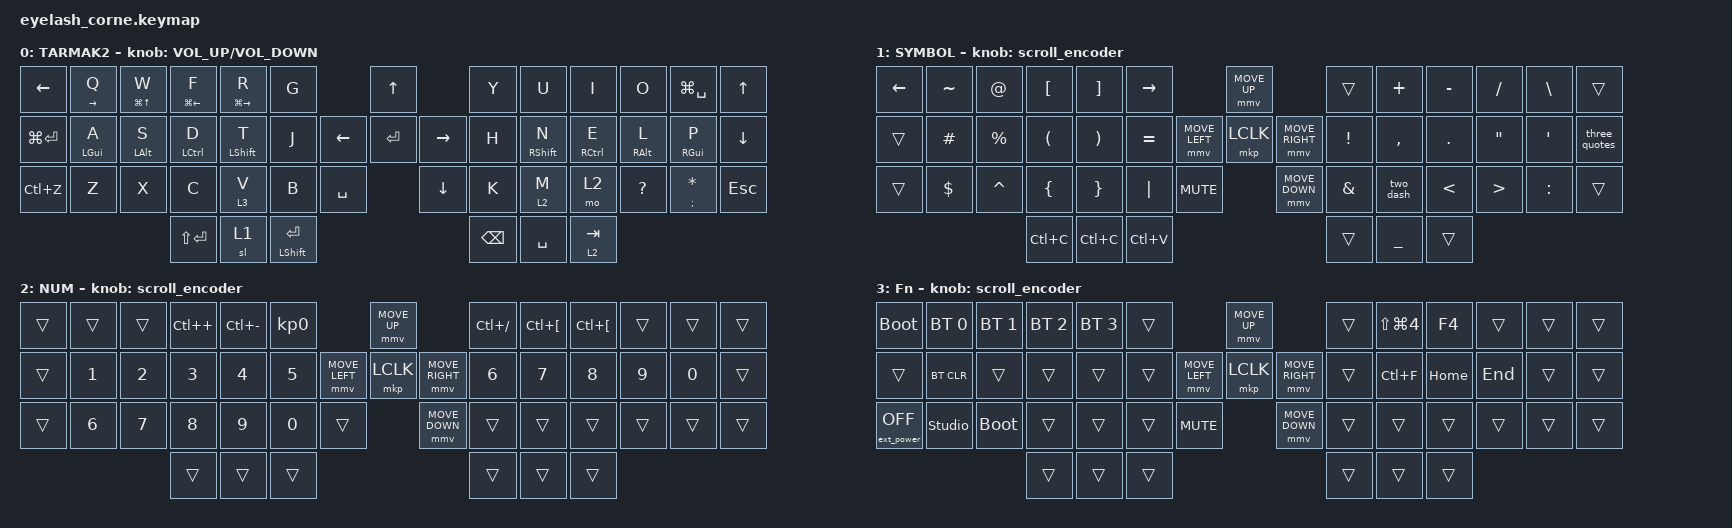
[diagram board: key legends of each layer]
#define ZMK_POINTING_DEFAULT_MOVE_VAL 1200  // 600
#define ZMK_POINTING_DEFAULT_SCRL_VAL 25   // 10

#include <input/processors.dtsi>
#include <zephyr/dt-bindings/input/input-event-codes.h>
#include <behaviors.dtsi>
#include <dt-bindings/zmk/bt.h>
#include <dt-bindings/zmk/ext_power.h>
#include <dt-bindings/zmk/keys.h>
#include <dt-bindings/zmk/outputs.h>
#include <dt-bindings/zmk/pointing.h>
#include <dt-bindings/zmk/rgb.h>

&mmv_input_listener { input-processors = <&zip_xy_scaler 2 1>; };

&msc_input_listener { input-processors = <&zip_scroll_scaler 2 1>; };

&msc {
    acceleration-exponent = <1>;      // 0
    time-to-max-speed-ms = <100>;       // 300
    delay-ms = <0>;                   // 0
};

&mmv {
    time-to-max-speed-ms = <500>;
    acceleration-exponent = <1>;
    trigger-period-ms = <16>;
};


/ {
    behaviors {
        td0: td0 {
            compatible = "zmk,behavior-tap-dance";
            display-name = "Shift/Caps Lock Tap Dance";
            #binding-cells = <0>;
            bindings = <&kp LEFT_SHIFT>, <&kp CAPS>;
        };

        hm: homerow_mods {
            compatible = "zmk,behavior-hold-tap";
            label = "HOMEROW_MODS";
            #binding-cells = <2>;
            tapping-term-ms = <200>;
            quick_tap_ms = <0>;
            flavor = "tap-preferred";
            bindings = <&kp>, <&kp>;

            quick-tap-ms = <180>;
            global-quick-tap;
        };

        ltq: ltq {
            compatible = "zmk,behavior-hold-tap";
            label = "LTQ";
            bindings = <&mo>, <&kp>;
            #binding-cells = <2>;
            tapping-term-ms = <200>;
            quick-tap-ms = <180>;
            flavor = "tap-preferred";
        };

    };

    rgb_encoder: rgb_encoder {
        compatible = "zmk,behavior-sensor-rotate";
        #sensor-binding-cells = <0>;
        bindings = <&rgb_ug RGB_BRI>, <&rgb_ug RGB_BRD>;
    };

    scroll_encoder: scroll_encoder {
        compatible = "zmk,behavior-sensor-rotate";
        #sensor-binding-cells = <0>;
        bindings = <&msc SCRL_DOWN>, <&msc SCRL_UP>;
        tap-ms = <100>;
    };

    macros {
        three_quotes: three_quotes {
            compatible = "zmk,behavior-macro";
            #binding-cells = <0>;
            bindings = <&kp SQT &kp SQT &kp SQT>;
        };

       two_dash: two_dash {
            compatible = "zmk,behavior-macro";
            #binding-cells = <0>;
            bindings = <&kp MINUS &kp MINUS>;
        };
    };

    keymap {
        compatible = "zmk,keymap";

        default_layer_0 {
            display-name = "TARMAK2";
            bindings = <
&kp LEFT_ARROW &hm RIGHT Q     &hm LG(UP) W    &hm LG(LEFT) F       &hm LG(RIGHT) R      &kp G                              &kp UP                &kp Y          &kp U             &kp I            &kp O            &kp LG(SPACE)           &kp UP_ARROW
&kp LG(ENTER)  &hm LEFT_GUI A  &hm LEFT_ALT S  &hm LCTRL D          &hm LEFT_SHIFT T     &kp J               &kp LEFT  &kp ENTER  &kp RIGHT       &kp H          &hm RSHIFT N      &hm RCTRL E      &hm RIGHT_ALT L  &hm RGUI P              &kp DOWN_ARROW
&kp LC(Z)      &kp Z           &kp X           &kp C                &ltq 3 V             &kp B       &kp SPACE              &kp DOWN              &kp K          &ltq 2 M          &mo 2           &kp QUESTION     &hm SEMICOLON ASTRK     &kp ESC
                                               &kp LS(ENTER)        &sl 1                &mt LSHIFT ENTER                                         &kp BACKSPACE  &kp SPACE         &ltq 2 TAB
            >;
            sensor-bindings = <&inc_dec_kp C_VOLUME_UP C_VOLUME_DOWN>;
        };

        symbol_layer_1 {
            display-name = "SYMBOL";
            bindings = <
&kp LEFT_ARROW &kp TILDE  &kp AT_SIGN  &kp LBKT  &kp RBKT  &kp RIGHT_ARROW                                   &mmv MOVE_UP                     &trans            &kp PLUS          &kp MINUS     &kp SLASH          &kp BSLH          &trans
&trans         &kp HASH   &kp PERCENT  &kp LPAR  &kp RPAR  &kp EQUAL                         &mmv MOVE_LEFT  &mkp LCLK       &mmv MOVE_RIGHT  &kp EXCLAMATION   &kp COMMA         &kp PERIOD    &kp DOUBLE_QUOTES  &kp SINGLE_QUOTE  &three_quotes
&trans         &kp DOLLAR &kp CARET    &kp LBRC  &kp RBRC  &kp PIPE            &kp C_MUTE                    &mmv MOVE_DOWN                   &kp AMPERSAND     &two_dash         &kp LESS_THAN &kp GREATER_THAN   &kp COLON         &trans
                                    &kp LC(C) &kp LC(C) &kp LC(V)                                                                        &trans            &kp UNDERSCORE    &trans
            >;
            sensor-bindings = <&scroll_encoder>;
        };

        num_layer_2 {
            display-name = "NUM";
            bindings = <
&trans  &trans      &trans           &kp LC(PLUS)     &kp LC(MINUS)    &kp KP_NUMBER_0                            &mmv MOVE_UP                     &kp LC(SLASH)      &kp LC(LBKT)    &kp LC(LBKT)    &trans           &trans           &trans
&trans  &kp N1      &kp  N2          &kp  N3          &kp  N4          &kp  N5                    &mmv MOVE_LEFT  &mkp LCLK       &mmv MOVE_RIGHT  &kp N6             &kp  N7         &kp  N8         &kp  N9          &kp  N0          &trans
&trans  &kp N6      &kp  N7          &kp  N8          &kp  N9          &kp  N0          &trans                    &mmv MOVE_DOWN                   &trans             &trans          &trans          &trans           &trans           &trans
                                    &trans     &trans     &trans                                                                                          &trans             &trans          &trans
            >;
            sensor-bindings = <&scroll_encoder>;
        };

        layer_3 {
            display-name = "Fn";
            bindings = <
&bootloader        &bt BT_SEL 0   &bt BT_SEL 1  &bt BT_SEL 2  &bt BT_SEL 3  &trans                                  &mmv MOVE_UP                     &trans  &kp LS(LG(N4)) &kp F4    &trans  &trans  &trans
&trans             &bt BT_CLR     &trans        &trans        &trans        &trans                   &mmv MOVE_LEFT  &mkp LCLK       &mmv MOVE_RIGHT &trans  &kp LC(F)      &kp HOME  &kp END &trans  &trans
&ext_power EP_OFF  &studio_unlock &bootloader   &trans        &trans        &trans  &kp C_MUTE                    &mmv MOVE_DOWN                     &trans  &trans         &trans    &trans  &trans  &trans
                                               &trans        &trans        &trans                                                                   &trans  &trans         &trans
            >;
            sensor-bindings = <&scroll_encoder>;
        };
    };
};

//&studio_unlock
//comment
